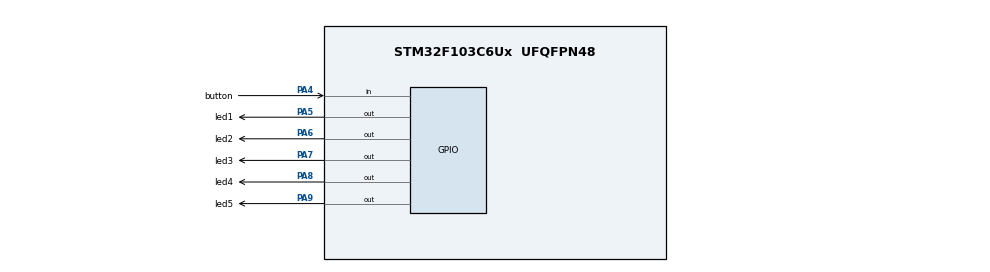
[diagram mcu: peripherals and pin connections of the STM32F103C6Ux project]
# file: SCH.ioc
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Mcu.Family=STM32F1
Mcu.Name=STM32F103C6Ux
Mcu.Package=UFQFPN48
NVIC.PriorityGroup=NVIC_PRIORITYGROUP_4
NVIC.TIM2_IRQn=true\:0\:0\:false\:false\:true\:true\:true
PA4.GPIO_Label=button
PA4.GPIO_PuPd=GPIO_PULLUP
PA4.Signal=GPIO_Input
PA5.GPIO_Label=led1
PA5.Signal=GPIO_Output
PA6.GPIO_Label=led2
PA6.Signal=GPIO_Output
PA7.GPIO_Label=led3
PA7.Signal=GPIO_Output
PA8.GPIO_Label=led4
PA8.Signal=GPIO_Output
PA9.GPIO_Label=led5
PA9.Signal=GPIO_Output
ProjectManager.HeapSize=0x200
ProjectManager.StackSize=0x400
ProjectManager.TargetToolchain=STM32CubeIDE
RCC.APB1Freq_Value=8000000
RCC.APB2Freq_Value=8000000
TIM2.Period=10
TIM2.Prescaler=7999
VP_SYS_VS_ND.Mode=No_Debug
VP_TIM2_VS_ClockSourceINT.Mode=Internal
board=custom

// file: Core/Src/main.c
/* USER CODE BEGIN Header */
/**
  ******************************************************************************
  * @file           : main.c
  * @brief          : Main program body
  ******************************************************************************
  * @attention
  *
  * <h2><center>&copy; Copyright (c) 2022 STMicroelectronics.
  * All rights reserved.</center></h2>
  *
  * This software component is licensed by ST under BSD 3-Clause license,
  * the "License"; You may not use this file except in compliance with the
  * License. You may obtain a copy of the License at:
  *                        opensource.org/licenses/BSD-3-Clause
  *
  ******************************************************************************
  */
/* USER CODE END Header */
#include "main.h"

/* USER CODE BEGIN Includes */
#include "scheduler.h"
/* USER CODE END Includes */

TIM_HandleTypeDef htim2;

void SystemClock_Config(void);
static void MX_TIM2_Init(void);
static void MX_GPIO_Init(void);

/* USER CODE BEGIN 0 */

void HAL_TIM_PeriodElapsedCallback(TIM_HandleTypeDef *htim){
	SCH_Update();
}
void testLED0(){
	  HAL_GPIO_TogglePin(led1_GPIO_Port, led1_Pin);
}
void testLED1(){
	  HAL_GPIO_TogglePin(led2_GPIO_Port, led2_Pin);
}
void testLED2(){
	  HAL_GPIO_TogglePin(led3_GPIO_Port, led3_Pin);
}
void testLED3(){
	  HAL_GPIO_TogglePin(led4_GPIO_Port, led4_Pin);
}
void testLED4(){
	  HAL_GPIO_WritePin(led5_GPIO_Port, led5_Pin, SET);
}
/* USER CODE END 0 */

int main(void)
{

  /* MCU Configuration--------------------------------------------------------*/

  /* Reset of all peripherals, Initializes the Flash interface and the Systick. */
  HAL_Init();

  /* Configure the system clock */
  SystemClock_Config();

  /* Initialize all configured peripherals */
  MX_TIM2_Init();
  MX_GPIO_Init();
  /* USER CODE BEGIN 2 */
  HAL_TIM_Base_Start_IT(&htim2);

  /* USER CODE END 2 */

  /* Infinite loop */
  /* USER CODE BEGIN WHILE */
  #define DELAY 300
  SCH_Init();
  SCH_Add_Task(testLED0, DELAY, 100); // ID 0
  SCH_Add_Task(testLED1, DELAY, 200); // ID 1
  SCH_Add_Task(testLED2, DELAY, 400); // ID 2
  SCH_Add_Task(testLED3, DELAY, 800); // ID 3
  SCH_Add_Task(testLED4, DELAY, 000); // ID 4 , One-shot task

  while (1)
  {
	  SCH_Dispatch_Tasks();
    /* USER CODE END WHILE */

  }
}

void SystemClock_Config(void)
{
  RCC_OscInitTypeDef RCC_OscInitStruct = {0};
  RCC_ClkInitTypeDef RCC_ClkInitStruct = {0};

  /** Initializes the RCC Oscillators according to the specified parameters
  * in the RCC_OscInitTypeDef structure.
  */
  RCC_OscInitStruct.OscillatorType = RCC_OSCILLATORTYPE_HSI;
  RCC_OscInitStruct.HSIState = RCC_HSI_ON;
  RCC_OscInitStruct.HSICalibrationValue = RCC_HSICALIBRATION_DEFAULT;
  RCC_OscInitStruct.PLL.PLLState = RCC_PLL_NONE;
  if (HAL_RCC_OscConfig(&RCC_OscInitStruct) != HAL_OK)
  {
    Error_Handler();
  }
  /** Initializes the CPU, AHB and APB buses clocks
  */
  RCC_ClkInitStruct.ClockType = RCC_CLOCKTYPE_HCLK|RCC_CLOCKTYPE_SYSCLK
                              |RCC_CLOCKTYPE_PCLK1|RCC_CLOCKTYPE_PCLK2;
  RCC_ClkInitStruct.SYSCLKSource = RCC_SYSCLKSOURCE_HSI;
  RCC_ClkInitStruct.AHBCLKDivider = RCC_SYSCLK_DIV1;
  RCC_ClkInitStruct.APB1CLKDivider = RCC_HCLK_DIV1;
  RCC_ClkInitStruct.APB2CLKDivider = RCC_HCLK_DIV1;

  if (HAL_RCC_ClockConfig(&RCC_ClkInitStruct, FLASH_LATENCY_0) != HAL_OK)
  {
    Error_Handler();
  }
}

static void MX_TIM2_Init(void)
{

  TIM_ClockConfigTypeDef sClockSourceConfig = {0};
  TIM_MasterConfigTypeDef sMasterConfig = {0};

  htim2.Instance = TIM2;
  htim2.Init.Prescaler = 7999;
  htim2.Init.CounterMode = TIM_COUNTERMODE_UP;
  htim2.Init.Period = 10;
  htim2.Init.ClockDivision = TIM_CLOCKDIVISION_DIV1;
  htim2.Init.AutoReloadPreload = TIM_AUTORELOAD_PRELOAD_DISABLE;
  if (HAL_TIM_Base_Init(&htim2) != HAL_OK)
  {
    Error_Handler();
  }
  sClockSourceConfig.ClockSource = TIM_CLOCKSOURCE_INTERNAL;
  if (HAL_TIM_ConfigClockSource(&htim2, &sClockSourceConfig) != HAL_OK)
  {
    Error_Handler();
  }
  sMasterConfig.MasterOutputTrigger = TIM_TRGO_RESET;
  sMasterConfig.MasterSlaveMode = TIM_MASTERSLAVEMODE_DISABLE;
  if (HAL_TIMEx_MasterConfigSynchronization(&htim2, &sMasterConfig) != HAL_OK)
  {
    Error_Handler();
  }

}

static void MX_GPIO_Init(void)
{
  GPIO_InitTypeDef GPIO_InitStruct = {0};

  /* GPIO Ports Clock Enable */
  __HAL_RCC_GPIOA_CLK_ENABLE();

  /*Configure GPIO pin Output Level */
  HAL_GPIO_WritePin(GPIOA, led1_Pin|led2_Pin|led3_Pin|led4_Pin
                          |led5_Pin, GPIO_PIN_RESET);

  /*Configure GPIO pin : button_Pin */
  GPIO_InitStruct.Pin = button_Pin;
  GPIO_InitStruct.Mode = GPIO_MODE_INPUT;
  GPIO_InitStruct.Pull = GPIO_PULLUP;
  HAL_GPIO_Init(button_GPIO_Port, &GPIO_InitStruct);

  /*Configure GPIO pins : led1_Pin led2_Pin led3_Pin led4_Pin
                           led5_Pin */
  GPIO_InitStruct.Pin = led1_Pin|led2_Pin|led3_Pin|led4_Pin
                          |led5_Pin;
  GPIO_InitStruct.Mode = GPIO_MODE_OUTPUT_PP;
  GPIO_InitStruct.Pull = GPIO_NOPULL;
  GPIO_InitStruct.Speed = GPIO_SPEED_FREQ_LOW;
  HAL_GPIO_Init(GPIOA, &GPIO_InitStruct);

}

void Error_Handler(void)
{
  __disable_irq();
  while (1)
  {
  }
}

/************************ (C) COPYRIGHT STMicroelectronics *****END OF FILE****/
